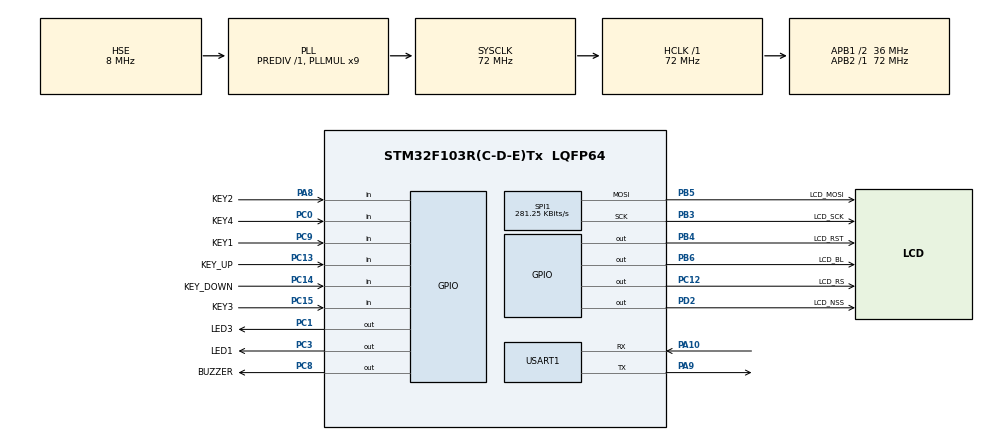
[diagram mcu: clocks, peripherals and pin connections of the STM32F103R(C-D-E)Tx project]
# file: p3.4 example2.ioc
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Dma.Request0=SPI1_TX
Dma.SPI1_TX.0.Direction=DMA_MEMORY_TO_PERIPH
Dma.SPI1_TX.0.Instance=DMA1_Channel3
Dma.SPI1_TX.0.MemDataAlignment=DMA_MDATAALIGN_BYTE
Dma.SPI1_TX.0.MemInc=DMA_MINC_ENABLE
Dma.SPI1_TX.0.Mode=DMA_NORMAL
Dma.SPI1_TX.0.PeriphDataAlignment=DMA_PDATAALIGN_BYTE
Dma.SPI1_TX.0.PeriphInc=DMA_PINC_DISABLE
Dma.SPI1_TX.0.Priority=DMA_PRIORITY_LOW
Mcu.Family=STM32F1
Mcu.Name=STM32F103R(C-D-E)Tx
Mcu.Package=LQFP64
NVIC.DMA1_Channel3_IRQn=true\:5\:0\:true\:false\:true\:false\:true\:true
NVIC.PriorityGroup=NVIC_PRIORITYGROUP_4
NVIC.TIM6_IRQn=true\:0\:0\:true\:false\:true\:false\:true\:true
NVIC.TimeBase=TIM6_IRQn
NVIC.TimeBaseIP=TIM6
PA10.Mode=Asynchronous
PA10.Signal=USART1_RX
PA13.Mode=Serial_Wire
PA13.Signal=SYS_JTMS-SWDIO
PA14.Mode=Serial_Wire
PA14.Signal=SYS_JTCK-SWCLK
PA8.GPIO_Label=KEY2
PA8.GPIO_PuPd=GPIO_PULLUP
PA8.Signal=GPIO_Input
PA9.Mode=Asynchronous
PA9.Signal=USART1_TX
PB3.GPIO_Label=LCD_SCK
PB3.Mode=TX_Only_Simplex_Unidirect_Master
PB3.Signal=SPI1_SCK
PB4.GPIO_Label=LCD_RST
PB4.Signal=GPIO_Output
PB5.GPIO_Label=LCD_MOSI
PB5.Mode=TX_Only_Simplex_Unidirect_Master
PB5.Signal=SPI1_MOSI
PB6.GPIO_Label=LCD_BL
PB6.Signal=GPIO_Output
PC0.GPIO_Label=KEY4
PC0.GPIO_PuPd=GPIO_PULLUP
PC0.Signal=GPIO_Input
PC1.GPIO_Label=LED3
PC1.Signal=GPIO_Output
PC12.GPIO_Label=LCD_RS
PC12.Signal=GPIO_Output
PC13-TAMPER-RTC.GPIO_Label=KEY_UP
PC13-TAMPER-RTC.GPIO_PuPd=GPIO_PULLUP
PC13-TAMPER-RTC.Signal=GPIO_Input
PC14-OSC32_IN.GPIO_Label=KEY_DOWN
PC14-OSC32_IN.GPIO_PuPd=GPIO_PULLUP
PC14-OSC32_IN.Signal=GPIO_Input
PC15-OSC32_OUT.GPIO_Label=KEY3
PC15-OSC32_OUT.GPIO_PuPd=GPIO_PULLUP
PC15-OSC32_OUT.Signal=GPIO_Input
PC3.GPIO_Label=LED1
PC3.Signal=GPIO_Output
PC8.GPIO_Label=BUZZER
PC8.Signal=GPIO_Output
PC9.GPIO_Label=KEY1
PC9.GPIO_PuPd=GPIO_PULLUP
PC9.Signal=GPIO_Input
PD0-OSC_IN.Mode=HSE-External-Oscillator
PD0-OSC_IN.Signal=RCC_OSC_IN
PD1-OSC_OUT.Mode=HSE-External-Oscillator
PD1-OSC_OUT.Signal=RCC_OSC_OUT
PD2.GPIO_Label=LCD_NSS
PD2.PinState=GPIO_PIN_SET
PD2.Signal=GPIO_Output
ProjectManager.HeapSize=0x200
ProjectManager.StackSize=0x400
ProjectManager.TargetToolchain=STM32CubeIDE
RCC.AHBFreq_Value=72000000
RCC.APB1CLKDivider=RCC_HCLK_DIV2
RCC.APB1Freq_Value=36000000
RCC.APB1TimFreq_Value=72000000
RCC.APB2Freq_Value=72000000
RCC.APB2TimFreq_Value=72000000
RCC.HCLKFreq_Value=72000000
RCC.PLLMUL=RCC_PLL_MUL9
RCC.PLLSourceVirtual=RCC_PLLSOURCE_HSE
RCC.SYSCLKFreq_VALUE=72000000
RCC.SYSCLKSource=RCC_SYSCLKSOURCE_PLLCLK
RCC.USBFreq_Value=72000000
SPI1.BaudRatePrescaler=SPI_BAUDRATEPRESCALER_256
SPI1.CalculateBaudRate=281.25 KBits/s
SPI1.Direction=SPI_DIRECTION_2LINES
SPI1.Mode=SPI_MODE_MASTER
SPI1.VirtualType=VM_MASTER
USART1.VirtualMode=VM_ASYNC
VP_SYS_VS_tim6.Mode=TIM6
board=custom

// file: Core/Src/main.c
/* USER CODE BEGIN Header */
/**
  ******************************************************************************
  * @file           : main.c
  * @brief          : Main program body
  ******************************************************************************
  * @attention
  *
  * Copyright (c) 2026 STMicroelectronics.
  * All rights reserved.
  *
  * This software is licensed under terms that can be found in the LICENSE file
  * in the root directory of this software component.
  * If no LICENSE file comes with this software, it is provided AS-IS.
  *
  ******************************************************************************
  */
/* USER CODE END Header */
#include "main.h"

/* USER CODE BEGIN Includes */
#include "FreeRTOS.h"
#include "task.h"
#include "key_task.h"
#include "buzzer_task.h"
#include "lcd_task.h"
/* USER CODE END Includes */

SPI_HandleTypeDef hspi1;
DMA_HandleTypeDef hdma_spi1_tx;

UART_HandleTypeDef huart1;

void SystemClock_Config(void);
static void MX_GPIO_Init(void);
static void MX_DMA_Init(void);
static void MX_USART1_UART_Init(void);
static void MX_SPI1_Init(void);

/* USER CODE BEGIN 0 */
static void vLED1Task(void *pvParameters)
{
	for(;;)
	{
		HAL_GPIO_WritePin(LED1_GPIO_Port, LED1_Pin, GPIO_PIN_SET);
		vTaskDelay(pdMS_TO_TICKS(100));
		HAL_GPIO_WritePin(LED1_GPIO_Port, LED1_Pin, GPIO_PIN_RESET);
		vTaskDelay(pdMS_TO_TICKS(100));
	}
}
/* USER CODE END 0 */

int main(void)
{

  /* MCU Configuration--------------------------------------------------------*/

  /* Reset of all peripherals, Initializes the Flash interface and the Systick. */
  HAL_Init();

  /* Configure the system clock */
  SystemClock_Config();

  /* Initialize all configured peripherals */
  MX_GPIO_Init();
  MX_DMA_Init();
  MX_USART1_UART_Init();
  MX_SPI1_Init();
  /* USER CODE BEGIN 2 */
  Buzzer_Init();
  LCDTask_Init();

  xTaskCreate(vKeyTask, "KEY", 128, NULL, 3, NULL);
  xTaskCreate(vBuzzerTask, "BUZZER", 32, NULL, 1, NULL);
  xTaskCreate(vLCDTask, "LCD", 256, NULL, 2, NULL);
  xTaskCreate(vLED1Task, "LED1", 32, NULL, 1, NULL);
  vTaskStartScheduler();

  /* USER CODE END 2 */

  /* Infinite loop */
  while (1)
  {

  }
}

void SystemClock_Config(void)
{
  RCC_OscInitTypeDef RCC_OscInitStruct = {0};
  RCC_ClkInitTypeDef RCC_ClkInitStruct = {0};

  /** Initializes the RCC Oscillators according to the specified parameters
  * in the RCC_OscInitTypeDef structure.
  */
  RCC_OscInitStruct.OscillatorType = RCC_OSCILLATORTYPE_HSE;
  RCC_OscInitStruct.HSEState = RCC_HSE_ON;
  RCC_OscInitStruct.HSEPredivValue = RCC_HSE_PREDIV_DIV1;
  RCC_OscInitStruct.HSIState = RCC_HSI_ON;
  RCC_OscInitStruct.PLL.PLLState = RCC_PLL_ON;
  RCC_OscInitStruct.PLL.PLLSource = RCC_PLLSOURCE_HSE;
  RCC_OscInitStruct.PLL.PLLMUL = RCC_PLL_MUL9;
  if (HAL_RCC_OscConfig(&RCC_OscInitStruct) != HAL_OK)
  {
    Error_Handler();
  }

  /** Initializes the CPU, AHB and APB buses clocks
  */
  RCC_ClkInitStruct.ClockType = RCC_CLOCKTYPE_HCLK|RCC_CLOCKTYPE_SYSCLK
                              |RCC_CLOCKTYPE_PCLK1|RCC_CLOCKTYPE_PCLK2;
  RCC_ClkInitStruct.SYSCLKSource = RCC_SYSCLKSOURCE_PLLCLK;
  RCC_ClkInitStruct.AHBCLKDivider = RCC_SYSCLK_DIV1;
  RCC_ClkInitStruct.APB1CLKDivider = RCC_HCLK_DIV2;
  RCC_ClkInitStruct.APB2CLKDivider = RCC_HCLK_DIV1;

  if (HAL_RCC_ClockConfig(&RCC_ClkInitStruct, FLASH_LATENCY_2) != HAL_OK)
  {
    Error_Handler();
  }
}

static void MX_SPI1_Init(void)
{

  /* SPI1 parameter configuration*/
  hspi1.Instance = SPI1;
  hspi1.Init.Mode = SPI_MODE_MASTER;
  hspi1.Init.Direction = SPI_DIRECTION_2LINES;
  hspi1.Init.DataSize = SPI_DATASIZE_8BIT;
  hspi1.Init.CLKPolarity = SPI_POLARITY_LOW;
  hspi1.Init.CLKPhase = SPI_PHASE_1EDGE;
  hspi1.Init.NSS = SPI_NSS_SOFT;
  hspi1.Init.BaudRatePrescaler = SPI_BAUDRATEPRESCALER_256;
  hspi1.Init.FirstBit = SPI_FIRSTBIT_MSB;
  hspi1.Init.TIMode = SPI_TIMODE_DISABLE;
  hspi1.Init.CRCCalculation = SPI_CRCCALCULATION_DISABLE;
  hspi1.Init.CRCPolynomial = 10;
  if (HAL_SPI_Init(&hspi1) != HAL_OK)
  {
    Error_Handler();
  }

}

static void MX_USART1_UART_Init(void)
{

  huart1.Instance = USART1;
  huart1.Init.BaudRate = 115200;
  huart1.Init.WordLength = UART_WORDLENGTH_8B;
  huart1.Init.StopBits = UART_STOPBITS_1;
  huart1.Init.Parity = UART_PARITY_NONE;
  huart1.Init.Mode = UART_MODE_TX_RX;
  huart1.Init.HwFlowCtl = UART_HWCONTROL_NONE;
  huart1.Init.OverSampling = UART_OVERSAMPLING_16;
  if (HAL_UART_Init(&huart1) != HAL_OK)
  {
    Error_Handler();
  }

}

static void MX_DMA_Init(void)
{

  /* DMA controller clock enable */
  __HAL_RCC_DMA1_CLK_ENABLE();

  /* DMA interrupt init */
  /* DMA1_Channel3_IRQn interrupt configuration */
  HAL_NVIC_SetPriority(DMA1_Channel3_IRQn, 5, 0);
  HAL_NVIC_EnableIRQ(DMA1_Channel3_IRQn);

}

static void MX_GPIO_Init(void)
{
  GPIO_InitTypeDef GPIO_InitStruct = {0};

  /* GPIO Ports Clock Enable */
  __HAL_RCC_GPIOC_CLK_ENABLE();
  __HAL_RCC_GPIOD_CLK_ENABLE();
  __HAL_RCC_GPIOA_CLK_ENABLE();
  __HAL_RCC_GPIOB_CLK_ENABLE();

  /*Configure GPIO pin Output Level */
  HAL_GPIO_WritePin(GPIOC, LED3_Pin|LED1_Pin|BUZZER_Pin|LCD_RS_Pin, GPIO_PIN_RESET);

  /*Configure GPIO pin Output Level */
  HAL_GPIO_WritePin(LCD_NSS_GPIO_Port, LCD_NSS_Pin, GPIO_PIN_SET);

  /*Configure GPIO pin Output Level */
  HAL_GPIO_WritePin(GPIOB, LCD_RST_Pin|LCD_BL_Pin, GPIO_PIN_RESET);

  /*Configure GPIO pins : KEY_UP_Pin KEY_DOWN_Pin KEY3_Pin KEY4_Pin
                           KEY1_Pin */
  GPIO_InitStruct.Pin = KEY_UP_Pin|KEY_DOWN_Pin|KEY3_Pin|KEY4_Pin
                          |KEY1_Pin;
  GPIO_InitStruct.Mode = GPIO_MODE_INPUT;
  GPIO_InitStruct.Pull = GPIO_PULLUP;
  HAL_GPIO_Init(GPIOC, &GPIO_InitStruct);

  /*Configure GPIO pins : LED3_Pin LED1_Pin BUZZER_Pin LCD_RS_Pin */
  GPIO_InitStruct.Pin = LED3_Pin|LED1_Pin|BUZZER_Pin|LCD_RS_Pin;
  GPIO_InitStruct.Mode = GPIO_MODE_OUTPUT_PP;
  GPIO_InitStruct.Pull = GPIO_NOPULL;
  GPIO_InitStruct.Speed = GPIO_SPEED_FREQ_LOW;
  HAL_GPIO_Init(GPIOC, &GPIO_InitStruct);

  /*Configure GPIO pin : KEY2_Pin */
  GPIO_InitStruct.Pin = KEY2_Pin;
  GPIO_InitStruct.Mode = GPIO_MODE_INPUT;
  GPIO_InitStruct.Pull = GPIO_PULLUP;
  HAL_GPIO_Init(KEY2_GPIO_Port, &GPIO_InitStruct);

  /*Configure GPIO pin : LCD_NSS_Pin */
  GPIO_InitStruct.Pin = LCD_NSS_Pin;
  GPIO_InitStruct.Mode = GPIO_MODE_OUTPUT_PP;
  GPIO_InitStruct.Pull = GPIO_NOPULL;
  GPIO_InitStruct.Speed = GPIO_SPEED_FREQ_LOW;
  HAL_GPIO_Init(LCD_NSS_GPIO_Port, &GPIO_InitStruct);

  /*Configure GPIO pins : LCD_RST_Pin LCD_BL_Pin */
  GPIO_InitStruct.Pin = LCD_RST_Pin|LCD_BL_Pin;
  GPIO_InitStruct.Mode = GPIO_MODE_OUTPUT_PP;
  GPIO_InitStruct.Pull = GPIO_NOPULL;
  GPIO_InitStruct.Speed = GPIO_SPEED_FREQ_LOW;
  HAL_GPIO_Init(GPIOB, &GPIO_InitStruct);

}

void HAL_TIM_PeriodElapsedCallback(TIM_HandleTypeDef *htim)
{
  if (htim->Instance == TIM6)
  {
    HAL_IncTick();
  }
}

void Error_Handler(void)
{
  __disable_irq();
  while (1)
  {
  }
}
